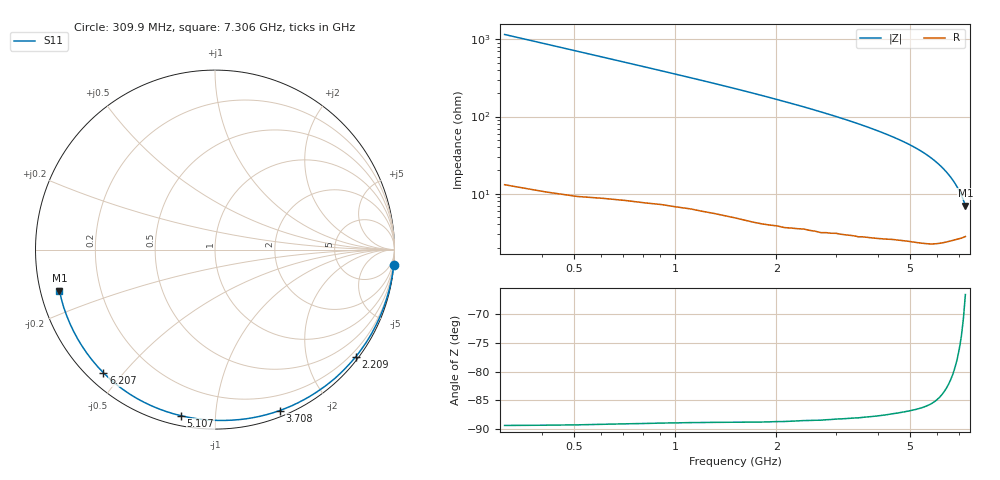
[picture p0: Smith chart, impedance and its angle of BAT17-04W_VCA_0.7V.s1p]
! Infineon Technologies  Discrete & RF Semiconductors
! BAT17-04W
! VCA = 0.7 V
! One-Port S-Parameters
# Hz  S  MA  R  50
!f  S11
!Hz  Mag  Ang
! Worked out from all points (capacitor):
!   71 points, 309.9 MHz to 7.306 GHz, reference 50 ohm
!   read as one part to ground: C = 443 fF near 309.9 MHz
!   lowest |Z| = 7.03 ohm at 7.306 GHz (marker M1)
!   S11 on the Smith chart (normalised r, x): 309.9 MHz: 0, -23; 2.209 GHz: 0.07, -2.97; 3.708 GHz: 0.05, -1.48; 5.107 GHz: 0.05, -0.82; 6.207 GHz: 0.05, -0.44; 7.306 GHz: 0.06, -0.13
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3.0985e8  0.999 -4.9
7.0965e8  0.9968 -11.3
1.2094e9  0.9933 -19.5
1.50925e9  0.9913 -24.5
1.70915e9  0.99 -28.0
2.10895e9  0.9867 -35.3
2.2089e9  0.9855 -37.2
2.6087e9  0.9811 -44.9
3.0085e9  0.9758 -53.0
3.4083e9  0.9707 -61.5
3.70815e9  0.9664 -68.1
3.8081e9  0.9649 -70.3
4.008e9  0.9619 -74.9
4.30785e9  0.9568 -81.8
4.50775e9  0.9534 -86.6
4.70765e9  0.9504 -91.4
4.90755e9  0.9475 -96.4
5.10745e9  0.9448 -101.5
5.4073e9  0.9409 -109.4
5.6072e9  0.938 -114.9
5.70715e9  0.9365 -117.7
5.90705e9  0.9329 -123.4
6.2069e9  0.926 -132.2
6.50675e9  0.918 -141.1
6.70665e9  0.9126 -147.1
6.90655e9  0.9073 -153.1
7.10645e9  0.9023 -159.1
7.30635e9  0.8961 -165.3
